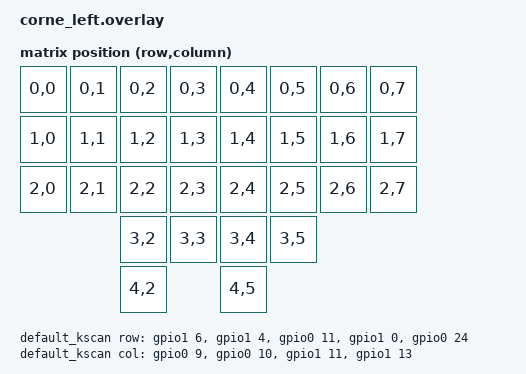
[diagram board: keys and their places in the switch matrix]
/*
 * Copyright (c) 2020 Pete Johanson
 *
 * SPDX-License-Identifier: MIT
 */

#include <dt-bindings/zmk/matrix_transform.h>

/ {
    chosen {
        zmk,kscan = &default_kscan;
        zmk,matrix-transform = &default_transform;
    };

    default_transform: matrix_transform {
        compatible = "zmk,matrix-transform";
        columns = <8>;
        rows = <5>;
// Grid layout mapping from your description:
// Each side has 4 columns (hardware), first 2 cols=3 rows, last 2 cols=4 rows
// Left:           Right (mirrored):
// [0][1][2][3]    [3][2][1][0]
//  X  X  X  X      X  X  X  X    Row 0
//  X  X  X  X      X  X  X  X    Row 1
//  X  X  X  X      X  X  X  X    Row 2
//  -  -  X  X      X  X  -  -    Row 3
//  -  -  X  -      -  X  -  -    Row 4
        map = <
RC(0,0) RC(0,1) RC(0,2) RC(0,3)  RC(0,4) RC(0,5) RC(0,6) RC(0,7)
RC(1,0) RC(1,1) RC(1,2) RC(1,3)  RC(1,4) RC(1,5) RC(1,6) RC(1,7)
RC(2,0) RC(2,1) RC(2,2) RC(2,3)  RC(2,4) RC(2,5) RC(2,6) RC(2,7)
                RC(3,2) RC(3,3)  RC(3,4) RC(3,5)
                RC(4,2)          RC(4,5)
        >;
    };

    default_kscan: kscan {
        compatible = "zmk,kscan-gpio-matrix";
        wakeup-source;

        diode-direction = "col2row";
        
        col-gpios
            = <&gpio0 9 GPIO_ACTIVE_HIGH>
            , <&gpio0 10 GPIO_ACTIVE_HIGH>
            , <&gpio1 11 GPIO_ACTIVE_HIGH>
            , <&gpio1 13 GPIO_ACTIVE_HIGH>
            ;

        row-gpios
            = <&gpio1 6 (GPIO_ACTIVE_HIGH | GPIO_PULL_DOWN)>
            , <&gpio1 4 (GPIO_ACTIVE_HIGH | GPIO_PULL_DOWN)>
            , <&gpio0 11 (GPIO_ACTIVE_HIGH | GPIO_PULL_DOWN)>
            , <&gpio1 0 (GPIO_ACTIVE_HIGH | GPIO_PULL_DOWN)>
            , <&gpio0 24 (GPIO_ACTIVE_HIGH | GPIO_PULL_DOWN)>
            ;
    };
};
